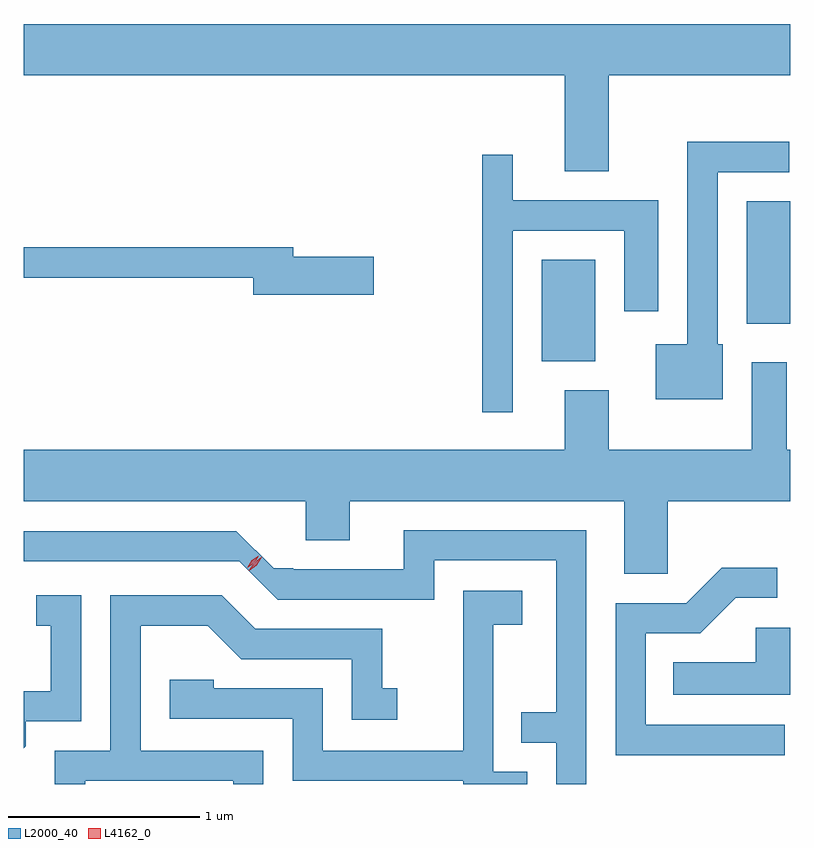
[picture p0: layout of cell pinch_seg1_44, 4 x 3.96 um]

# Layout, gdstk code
import gdstk
lib = gdstk.Library(unit=1e-6, precision=1e-09)
def R(c, l, rs):  # rectangles x0, y0, x1, y1
    for r in rs: c.add(gdstk.rectangle(r[:2], r[2:], *l))
def P(c, l, *ps):  # polygons
    for p in ps: c.add(gdstk.Polygon(p, *l))
L2000_40 = (2000, 40)
L4162_0 = (4162, 0)

pinch_seg1_44 = lib.new_cell('pinch_seg1_44')
R(pinch_seg1_44, L2000_40, [(1408.171,860.346,1408.449,860.874), (1409.241,860.541,1409.468,861.179)])
P(pinch_seg1_44, L2000_40, [(1408.519,861.836),(1409.468,861.836),(1409.468,862.104),(1405.468,862.104),(1405.468,861.836),(1408.291,861.836),(1408.291,861.336),(1408.519,861.336)],
  [(1409.114,860.434),(1409.089,860.434),(1409.089,861.331),(1409.463,861.331),(1409.463,861.489),(1408.931,861.489),(1408.931,860.434),(1408.766,860.434),(1408.766,860.146),(1409.114,860.146)],
  [(1408.019,861.026),(1408.601,861.026),(1408.601,860.606),(1408.779,860.606),(1408.779,861.184),(1408.019,861.184),(1408.019,861.423),(1407.861,861.423),(1407.861,860.078),(1408.019,860.078)],
  [(1407.294,860.889),(1406.874,860.889),(1406.874,860.939),(1405.468,860.939),(1405.468,860.781),(1406.666,860.781),(1406.666,860.691),(1407.294,860.691)],
  [(1408.829,859.616),(1409.468,859.616),(1409.468,859.884),(1409.449,859.884),(1409.449,860.339),(1409.266,860.339),(1409.266,859.884),(1408.519,859.884),(1408.519,860.194),(1408.291,860.194),(1408.291,859.884),(1405.468,859.884),(1405.468,859.616),(1406.941,859.616),(1406.941,859.411),(1407.169,859.411),(1407.169,859.616),(1408.601,859.616),(1408.601,859.236),(1408.829,859.236)],
  [(1408.404,859.464),(1407.451,859.464),(1407.451,859.259),(1406.876,859.259),(1406.876,859.265),(1406.772,859.265),(1406.578,859.459),(1405.468,859.459),(1405.468,859.301),(1406.495,859.301),(1406.495,859.303),(1406.592,859.303),(1406.794,859.101),(1407.609,859.101),(1407.609,859.306),(1408.246,859.306),(1408.246,858.514),(1408.063,858.514),(1408.063,858.356),(1408.246,858.356),(1408.246,858.14),(1408.404,858.14)],
  [(1409.438,858.449),(1408.714,858.449),(1408.714,858.926),(1408.997,858.926),(1409.182,859.111),(1409.398,859.111),(1409.398,859.269),(1409.109,859.269),(1408.924,859.084),(1408.556,859.084),(1408.556,858.291),(1409.438,858.291)],
  [(1408.094,858.204),(1407.919,858.204),(1407.919,858.971),(1408.069,858.971),(1408.069,859.149),(1407.761,859.149),(1407.761,858.314),(1407.029,858.314),(1407.029,858.639),(1406.459,858.639),(1406.459,858.684),(1406.231,858.684),(1406.231,858.481),(1406.871,858.481),(1406.871,858.156),(1407.761,858.156),(1407.761,858.14),(1408.094,858.14)],
  [(1405.479,858.337),(1405.479,858.466),(1405.769,858.466),(1405.769,859.124),(1405.533,859.124),(1405.533,858.966),(1405.611,858.966),(1405.611,858.624),(1405.468,858.624),(1405.468,858.326)],
  [(1405.789,858.156),(1406.561,858.156),(1406.561,858.14),(1406.719,858.14),(1406.719,858.314),(1406.079,858.314),(1406.079,858.966),(1406.429,858.966),(1406.604,858.791),(1407.181,858.791),(1407.181,858.476),(1407.418,858.476),(1407.418,858.639),(1407.339,858.639),(1407.339,858.949),(1406.677,858.949),(1406.502,859.124),(1405.921,859.124),(1405.921,858.314),(1405.631,858.314),(1405.631,858.14),(1405.789,858.14)],
  [(1409.468,858.954),(1409.286,858.954),(1409.286,858.774),(1408.858,858.774),(1408.858,858.606),(1409.468,858.606)])
P(pinch_seg1_44, L4162_0, [(1406.634,859.267),(1406.634,859.268),(1406.657,859.306),(1406.694,859.331),(1406.695,859.331),(1406.695,859.33),(1406.672,859.292),(1406.635,859.267)],
  [(1406.643,859.252),(1406.643,859.253),(1406.67,859.295),(1406.71,859.324),(1406.711,859.324),(1406.711,859.323),(1406.684,859.281),(1406.644,859.252)])

lib.write_gds('pinch_seg1_44.gds')
